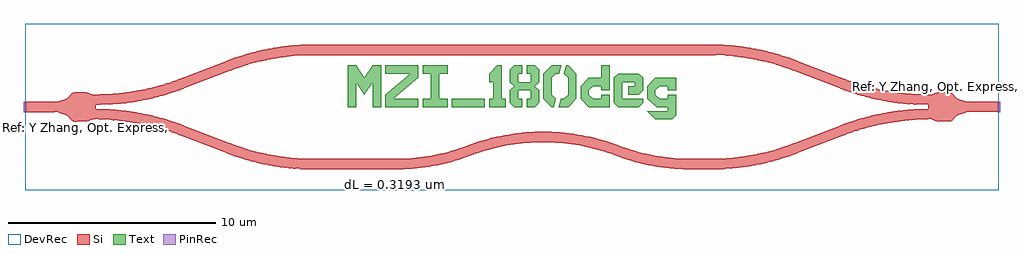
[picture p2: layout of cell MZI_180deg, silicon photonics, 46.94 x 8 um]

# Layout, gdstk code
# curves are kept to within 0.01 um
import gdstk
lib = gdstk.Library(unit=1e-6, precision=1e-09)
def R(c, l, rs):  # rectangles x0, y0, x1, y1
    for r in rs: c.add(gdstk.rectangle(r[:2], r[2:], *l))
def P(c, l, *ps):  # polygons
    for p in ps: c.add(gdstk.Polygon(p, *l))
Si = (1, 0)
PinRec = (1, 10)
Text = (10, 0)
DevRec = (68, 0)

optical_port1_1 = lib.new_cell('optical_port1$1')
optical_port1_1.add(gdstk.FlexPath([(0.05,0),(-0.05,0)], 0.5, ends="flush", simple_path=True, layer=1, datatype=10))  # PinRec
optical_port1_1.add(gdstk.FlexPath([(0.05,0),(-0.05,0)], 0.5, ends="flush", simple_path=True, layer=1, datatype=10))  # PinRec
optical_port1_1.add(gdstk.FlexPath([(0.05,0),(-0.05,0)], 0.5, ends="flush", simple_path=True, layer=1, datatype=10))  # PinRec
optical_port1_1.add(gdstk.FlexPath([(0.05,0),(-0.05,0)], 0.5, ends="flush", simple_path=True, layer=1, datatype=10))  # PinRec
optical_port1_1.add(gdstk.FlexPath([(0.05,0),(-0.05,0)], 0.5, ends="flush", simple_path=True, layer=1, datatype=10))  # PinRec
optical_port1_1.add(gdstk.FlexPath([(0.05,0),(-0.05,0)], 0.5, ends="flush", simple_path=True, layer=1, datatype=10))  # PinRec
optical_port1_1.add(gdstk.FlexPath([(0.05,0),(-0.05,0)], 0.5, ends="flush", simple_path=True, layer=1, datatype=10))  # PinRec
optical_port1_1.add(gdstk.FlexPath([(0.05,0),(-0.05,0)], 0.5, ends="flush", simple_path=True, layer=1, datatype=10))  # PinRec
optical_port1_1.add(gdstk.FlexPath([(0.05,0),(-0.05,0)], 0.5, ends="flush", simple_path=True, layer=1, datatype=10))  # PinRec
optical_port1_1.add(gdstk.FlexPath([(0.05,0),(-0.05,0)], 0.5, ends="flush", simple_path=True, layer=1, datatype=10))  # PinRec
optical_port1_1.add(gdstk.FlexPath([(0.05,0),(-0.05,0)], 0.5, ends="flush", simple_path=True, layer=1, datatype=10))  # PinRec
optical_port1_1.add(gdstk.FlexPath([(0.05,0),(-0.05,0)], 0.5, ends="flush", simple_path=True, layer=1, datatype=10))  # PinRec
optical_port1_1.add(gdstk.FlexPath([(0.05,0),(-0.05,0)], 0.5, ends="flush", simple_path=True, layer=1, datatype=10))  # PinRec
optical_port1_1.add(gdstk.FlexPath([(0.05,0),(-0.05,0)], 0.5, ends="flush", simple_path=True, layer=1, datatype=10))  # PinRec
optical_port1_1.add(gdstk.FlexPath([(0.05,0),(-0.05,0)], 0.5, ends="flush", simple_path=True, layer=1, datatype=10))  # PinRec
optical_port1_1.add(gdstk.FlexPath([(0.05,0),(-0.05,0)], 0.5, ends="flush", simple_path=True, layer=1, datatype=10))  # PinRec
optical_port1_1.add(gdstk.FlexPath([(0.05,0),(-0.05,0)], 0.5, ends="flush", simple_path=True, layer=1, datatype=10))  # PinRec
optical_port1_1.add(gdstk.FlexPath([(0.05,0),(-0.05,0)], 0.5, ends="flush", simple_path=True, layer=1, datatype=10))  # PinRec
optical_port1_1.add(gdstk.FlexPath([(0.05,0),(-0.05,0)], 0.5, ends="flush", simple_path=True, layer=1, datatype=10))  # PinRec
optical_port1_1.add(gdstk.FlexPath([(0.05,0),(-0.05,0)], 0.5, ends="flush", simple_path=True, layer=1, datatype=10))  # PinRec
optical_port1_1.add(gdstk.FlexPath([(0.05,0),(-0.05,0)], 0.5, ends="flush", simple_path=True, layer=1, datatype=10))  # PinRec
optical_port1_1.add(gdstk.FlexPath([(0.05,0),(-0.05,0)], 0.5, ends="flush", simple_path=True, layer=1, datatype=10))  # PinRec
optical_port1_1.add(gdstk.FlexPath([(0.05,0),(-0.05,0)], 0.5, ends="flush", simple_path=True, layer=1, datatype=10))  # PinRec
optical_port1_1.add(gdstk.FlexPath([(0.05,0),(-0.05,0)], 0.5, ends="flush", simple_path=True, layer=1, datatype=10))  # PinRec
optical_port1_1.add(gdstk.FlexPath([(0.05,0),(-0.05,0)], 0.5, ends="flush", simple_path=True, layer=1, datatype=10))  # PinRec
optical_port1_1.add(gdstk.FlexPath([(0.05,0),(-0.05,0)], 0.5, ends="flush", simple_path=True, layer=1, datatype=10))  # PinRec
optical_port1_1.add(gdstk.FlexPath([(0.05,0),(-0.05,0)], 0.5, ends="flush", simple_path=True, layer=1, datatype=10))  # PinRec
optical_port1_1.add(gdstk.FlexPath([(0.05,0),(-0.05,0)], 0.5, ends="flush", simple_path=True, layer=1, datatype=10))  # PinRec
optical_port1_1.add(gdstk.FlexPath([(0.05,0),(-0.05,0)], 0.5, ends="flush", simple_path=True, layer=1, datatype=10))  # PinRec
optical_port1_1.add(gdstk.FlexPath([(0.05,0),(-0.05,0)], 0.5, ends="flush", simple_path=True, layer=1, datatype=10))  # PinRec
optical_port1_1.add(gdstk.FlexPath([(0.05,0),(-0.05,0)], 0.5, ends="flush", simple_path=True, layer=1, datatype=10))  # PinRec
optical_port1_1.add(gdstk.FlexPath([(0.05,0),(-0.05,0)], 0.5, ends="flush", simple_path=True, layer=1, datatype=10))  # PinRec
optical_port1_1.add(gdstk.FlexPath([(0.05,0),(-0.05,0)], 0.5, ends="flush", simple_path=True, layer=1, datatype=10))  # PinRec
optical_port1_1.add(gdstk.FlexPath([(0.05,0),(-0.05,0)], 0.5, ends="flush", simple_path=True, layer=1, datatype=10))  # PinRec
optical_port1_1.add(gdstk.FlexPath([(0.05,0),(-0.05,0)], 0.5, ends="flush", simple_path=True, layer=1, datatype=10))  # PinRec
optical_port1_1.add(gdstk.FlexPath([(0.05,0),(-0.05,0)], 0.5, ends="flush", simple_path=True, layer=1, datatype=10))  # PinRec
optical_port1_1.add(gdstk.FlexPath([(0.05,0),(-0.05,0)], 0.5, ends="flush", simple_path=True, layer=1, datatype=10))  # PinRec
optical_port1_1.add(gdstk.FlexPath([(0.05,0),(-0.05,0)], 0.5, ends="flush", simple_path=True, layer=1, datatype=10))  # PinRec
optical_port1_1.add(gdstk.FlexPath([(0.05,0),(-0.05,0)], 0.5, ends="flush", simple_path=True, layer=1, datatype=10))  # PinRec
optical_port1_1.add(gdstk.FlexPath([(0.05,0),(-0.05,0)], 0.5, ends="flush", simple_path=True, layer=1, datatype=10))  # PinRec
optical_port1_1.add(gdstk.FlexPath([(0.05,0),(-0.05,0)], 0.5, ends="flush", simple_path=True, layer=1, datatype=10))  # PinRec
optical_port1_1.add(gdstk.FlexPath([(0.05,0),(-0.05,0)], 0.5, ends="flush", simple_path=True, layer=1, datatype=10))  # PinRec
optical_port1_1.add(gdstk.Label('o1', (0,0), layer=1, texttype=10))
optical_port1_1.add(gdstk.Label('o1', (0,0), layer=1, texttype=10))
optical_port1_1.add(gdstk.Label('o1', (0,0), layer=1, texttype=10))
optical_port1_1.add(gdstk.Label('o1', (0,0), layer=1, texttype=10))
optical_port1_1.add(gdstk.Label('o1', (0,0), layer=1, texttype=10))
optical_port1_1.add(gdstk.Label('o1', (0,0), layer=1, texttype=10))
optical_port1_1.add(gdstk.Label('o1', (0,0), layer=1, texttype=10))
optical_port1_1.add(gdstk.Label('o1', (0,0), layer=1, texttype=10))
optical_port1_1.add(gdstk.Label('o1', (0,0), layer=1, texttype=10))
optical_port1_1.add(gdstk.Label('o1', (0,0), layer=1, texttype=10))
optical_port1_1.add(gdstk.Label('o1', (0,0), layer=1, texttype=10))
optical_port1_1.add(gdstk.Label('o1', (0,0), layer=1, texttype=10))
optical_port1_1.add(gdstk.Label('o1', (0,0), layer=1, texttype=10))
optical_port1_1.add(gdstk.Label('o1', (0,0), layer=1, texttype=10))
optical_port1_1.add(gdstk.Label('o1', (0,0), layer=1, texttype=10))
optical_port1_1.add(gdstk.Label('o1', (0,0), layer=1, texttype=10))
optical_port1_1.add(gdstk.Label('o1', (0,0), layer=1, texttype=10))
optical_port1_1.add(gdstk.Label('o1', (0,0), layer=1, texttype=10))
optical_port1_1.add(gdstk.Label('o1', (0,0), layer=1, texttype=10))
optical_port1_1.add(gdstk.Label('o1', (0,0), layer=1, texttype=10))
optical_port1_1.add(gdstk.Label('o1', (0,0), layer=1, texttype=10))
optical_port1_1.add(gdstk.Label('o1', (0,0), layer=1, texttype=10))
optical_port1_1.add(gdstk.Label('o1', (0,0), layer=1, texttype=10))
optical_port1_1.add(gdstk.Label('o1', (0,0), layer=1, texttype=10))
optical_port1_1.add(gdstk.Label('o1', (0,0), layer=1, texttype=10))
optical_port1_1.add(gdstk.Label('o1', (0,0), layer=1, texttype=10))
optical_port1_1.add(gdstk.Label('o1', (0,0), layer=1, texttype=10))
optical_port1_1.add(gdstk.Label('o1', (0,0), layer=1, texttype=10))
optical_port1_1.add(gdstk.Label('o1', (0,0), layer=1, texttype=10))
optical_port1_1.add(gdstk.Label('o1', (0,0), layer=1, texttype=10))
optical_port1_1.add(gdstk.Label('o1', (0,0), layer=1, texttype=10))
optical_port1_1.add(gdstk.Label('o1', (0,0), layer=1, texttype=10))
optical_port1_1.add(gdstk.Label('o1', (0,0), layer=1, texttype=10))
optical_port1_1.add(gdstk.Label('o1', (0,0), layer=1, texttype=10))
optical_port1_1.add(gdstk.Label('o1', (0,0), layer=1, texttype=10))
optical_port1_1.add(gdstk.Label('o1', (0,0), layer=1, texttype=10))
optical_port1_1.add(gdstk.Label('o1', (0,0), layer=1, texttype=10))
optical_port1_1.add(gdstk.Label('o1', (0,0), layer=1, texttype=10))
optical_port1_1.add(gdstk.Label('o1', (0,0), layer=1, texttype=10))
optical_port1_1.add(gdstk.Label('o1', (0,0), layer=1, texttype=10))
optical_port1_1.add(gdstk.Label('o1', (0,0), layer=1, texttype=10))
optical_port1_1.add(gdstk.Label('o1', (0,0), layer=1, texttype=10))

optical_port2_1 = lib.new_cell('optical_port2$1')
optical_port2_1.add(gdstk.FlexPath([(-0.05,0),(0.05,0)], 0.5, ends="flush", simple_path=True, layer=1, datatype=10))  # PinRec
optical_port2_1.add(gdstk.FlexPath([(-0.05,0),(0.05,0)], 0.5, ends="flush", simple_path=True, layer=1, datatype=10))  # PinRec
optical_port2_1.add(gdstk.FlexPath([(-0.05,0),(0.05,0)], 0.5, ends="flush", simple_path=True, layer=1, datatype=10))  # PinRec
optical_port2_1.add(gdstk.FlexPath([(-0.05,0),(0.05,0)], 0.5, ends="flush", simple_path=True, layer=1, datatype=10))  # PinRec
optical_port2_1.add(gdstk.FlexPath([(-0.05,0),(0.05,0)], 0.5, ends="flush", simple_path=True, layer=1, datatype=10))  # PinRec
optical_port2_1.add(gdstk.FlexPath([(-0.05,0),(0.05,0)], 0.5, ends="flush", simple_path=True, layer=1, datatype=10))  # PinRec
optical_port2_1.add(gdstk.FlexPath([(-0.05,0),(0.05,0)], 0.5, ends="flush", simple_path=True, layer=1, datatype=10))  # PinRec
optical_port2_1.add(gdstk.FlexPath([(-0.05,0),(0.05,0)], 0.5, ends="flush", simple_path=True, layer=1, datatype=10))  # PinRec
optical_port2_1.add(gdstk.FlexPath([(-0.05,0),(0.05,0)], 0.5, ends="flush", simple_path=True, layer=1, datatype=10))  # PinRec
optical_port2_1.add(gdstk.FlexPath([(-0.05,0),(0.05,0)], 0.5, ends="flush", simple_path=True, layer=1, datatype=10))  # PinRec
optical_port2_1.add(gdstk.FlexPath([(-0.05,0),(0.05,0)], 0.5, ends="flush", simple_path=True, layer=1, datatype=10))  # PinRec
optical_port2_1.add(gdstk.FlexPath([(-0.05,0),(0.05,0)], 0.5, ends="flush", simple_path=True, layer=1, datatype=10))  # PinRec
optical_port2_1.add(gdstk.FlexPath([(-0.05,0),(0.05,0)], 0.5, ends="flush", simple_path=True, layer=1, datatype=10))  # PinRec
optical_port2_1.add(gdstk.FlexPath([(-0.05,0),(0.05,0)], 0.5, ends="flush", simple_path=True, layer=1, datatype=10))  # PinRec
optical_port2_1.add(gdstk.FlexPath([(-0.05,0),(0.05,0)], 0.5, ends="flush", simple_path=True, layer=1, datatype=10))  # PinRec
optical_port2_1.add(gdstk.FlexPath([(-0.05,0),(0.05,0)], 0.5, ends="flush", simple_path=True, layer=1, datatype=10))  # PinRec
optical_port2_1.add(gdstk.FlexPath([(-0.05,0),(0.05,0)], 0.5, ends="flush", simple_path=True, layer=1, datatype=10))  # PinRec
optical_port2_1.add(gdstk.FlexPath([(-0.05,0),(0.05,0)], 0.5, ends="flush", simple_path=True, layer=1, datatype=10))  # PinRec
optical_port2_1.add(gdstk.FlexPath([(-0.05,0),(0.05,0)], 0.5, ends="flush", simple_path=True, layer=1, datatype=10))  # PinRec
optical_port2_1.add(gdstk.FlexPath([(-0.05,0),(0.05,0)], 0.5, ends="flush", simple_path=True, layer=1, datatype=10))  # PinRec
optical_port2_1.add(gdstk.FlexPath([(-0.05,0),(0.05,0)], 0.5, ends="flush", simple_path=True, layer=1, datatype=10))  # PinRec
optical_port2_1.add(gdstk.FlexPath([(-0.05,0),(0.05,0)], 0.5, ends="flush", simple_path=True, layer=1, datatype=10))  # PinRec
optical_port2_1.add(gdstk.FlexPath([(-0.05,0),(0.05,0)], 0.5, ends="flush", simple_path=True, layer=1, datatype=10))  # PinRec
optical_port2_1.add(gdstk.FlexPath([(-0.05,0),(0.05,0)], 0.5, ends="flush", simple_path=True, layer=1, datatype=10))  # PinRec
optical_port2_1.add(gdstk.FlexPath([(-0.05,0),(0.05,0)], 0.5, ends="flush", simple_path=True, layer=1, datatype=10))  # PinRec
optical_port2_1.add(gdstk.FlexPath([(-0.05,0),(0.05,0)], 0.5, ends="flush", simple_path=True, layer=1, datatype=10))  # PinRec
optical_port2_1.add(gdstk.FlexPath([(-0.05,0),(0.05,0)], 0.5, ends="flush", simple_path=True, layer=1, datatype=10))  # PinRec
optical_port2_1.add(gdstk.FlexPath([(-0.05,0),(0.05,0)], 0.5, ends="flush", simple_path=True, layer=1, datatype=10))  # PinRec
optical_port2_1.add(gdstk.FlexPath([(-0.05,0),(0.05,0)], 0.5, ends="flush", simple_path=True, layer=1, datatype=10))  # PinRec
optical_port2_1.add(gdstk.FlexPath([(-0.05,0),(0.05,0)], 0.5, ends="flush", simple_path=True, layer=1, datatype=10))  # PinRec
optical_port2_1.add(gdstk.FlexPath([(-0.05,0),(0.05,0)], 0.5, ends="flush", simple_path=True, layer=1, datatype=10))  # PinRec
optical_port2_1.add(gdstk.FlexPath([(-0.05,0),(0.05,0)], 0.5, ends="flush", simple_path=True, layer=1, datatype=10))  # PinRec
optical_port2_1.add(gdstk.FlexPath([(-0.05,0),(0.05,0)], 0.5, ends="flush", simple_path=True, layer=1, datatype=10))  # PinRec
optical_port2_1.add(gdstk.FlexPath([(-0.05,0),(0.05,0)], 0.5, ends="flush", simple_path=True, layer=1, datatype=10))  # PinRec
optical_port2_1.add(gdstk.FlexPath([(-0.05,0),(0.05,0)], 0.5, ends="flush", simple_path=True, layer=1, datatype=10))  # PinRec
optical_port2_1.add(gdstk.FlexPath([(-0.05,0),(0.05,0)], 0.5, ends="flush", simple_path=True, layer=1, datatype=10))  # PinRec
optical_port2_1.add(gdstk.FlexPath([(-0.05,0),(0.05,0)], 0.5, ends="flush", simple_path=True, layer=1, datatype=10))  # PinRec
optical_port2_1.add(gdstk.FlexPath([(-0.05,0),(0.05,0)], 0.5, ends="flush", simple_path=True, layer=1, datatype=10))  # PinRec
optical_port2_1.add(gdstk.FlexPath([(-0.05,0),(0.05,0)], 0.5, ends="flush", simple_path=True, layer=1, datatype=10))  # PinRec
optical_port2_1.add(gdstk.FlexPath([(-0.05,0),(0.05,0)], 0.5, ends="flush", simple_path=True, layer=1, datatype=10))  # PinRec
optical_port2_1.add(gdstk.FlexPath([(-0.05,0),(0.05,0)], 0.5, ends="flush", simple_path=True, layer=1, datatype=10))  # PinRec
optical_port2_1.add(gdstk.FlexPath([(-0.05,0),(0.05,0)], 0.5, ends="flush", simple_path=True, layer=1, datatype=10))  # PinRec
optical_port2_1.add(gdstk.Label('o2', (0,0), layer=1, texttype=10))
optical_port2_1.add(gdstk.Label('o2', (0,0), layer=1, texttype=10))
optical_port2_1.add(gdstk.Label('o2', (0,0), layer=1, texttype=10))
optical_port2_1.add(gdstk.Label('o2', (0,0), layer=1, texttype=10))
optical_port2_1.add(gdstk.Label('o2', (0,0), layer=1, texttype=10))
optical_port2_1.add(gdstk.Label('o2', (0,0), layer=1, texttype=10))
optical_port2_1.add(gdstk.Label('o2', (0,0), layer=1, texttype=10))
optical_port2_1.add(gdstk.Label('o2', (0,0), layer=1, texttype=10))
optical_port2_1.add(gdstk.Label('o2', (0,0), layer=1, texttype=10))
optical_port2_1.add(gdstk.Label('o2', (0,0), layer=1, texttype=10))
optical_port2_1.add(gdstk.Label('o2', (0,0), layer=1, texttype=10))
optical_port2_1.add(gdstk.Label('o2', (0,0), layer=1, texttype=10))
optical_port2_1.add(gdstk.Label('o2', (0,0), layer=1, texttype=10))
optical_port2_1.add(gdstk.Label('o2', (0,0), layer=1, texttype=10))
optical_port2_1.add(gdstk.Label('o2', (0,0), layer=1, texttype=10))
optical_port2_1.add(gdstk.Label('o2', (0,0), layer=1, texttype=10))
optical_port2_1.add(gdstk.Label('o2', (0,0), layer=1, texttype=10))
optical_port2_1.add(gdstk.Label('o2', (0,0), layer=1, texttype=10))
optical_port2_1.add(gdstk.Label('o2', (0,0), layer=1, texttype=10))
optical_port2_1.add(gdstk.Label('o2', (0,0), layer=1, texttype=10))
optical_port2_1.add(gdstk.Label('o2', (0,0), layer=1, texttype=10))
optical_port2_1.add(gdstk.Label('o2', (0,0), layer=1, texttype=10))
optical_port2_1.add(gdstk.Label('o2', (0,0), layer=1, texttype=10))
optical_port2_1.add(gdstk.Label('o2', (0,0), layer=1, texttype=10))
optical_port2_1.add(gdstk.Label('o2', (0,0), layer=1, texttype=10))
optical_port2_1.add(gdstk.Label('o2', (0,0), layer=1, texttype=10))
optical_port2_1.add(gdstk.Label('o2', (0,0), layer=1, texttype=10))
optical_port2_1.add(gdstk.Label('o2', (0,0), layer=1, texttype=10))
optical_port2_1.add(gdstk.Label('o2', (0,0), layer=1, texttype=10))
optical_port2_1.add(gdstk.Label('o2', (0,0), layer=1, texttype=10))
optical_port2_1.add(gdstk.Label('o2', (0,0), layer=1, texttype=10))
optical_port2_1.add(gdstk.Label('o2', (0,0), layer=1, texttype=10))
optical_port2_1.add(gdstk.Label('o2', (0,0), layer=1, texttype=10))
optical_port2_1.add(gdstk.Label('o2', (0,0), layer=1, texttype=10))
optical_port2_1.add(gdstk.Label('o2', (0,0), layer=1, texttype=10))
optical_port2_1.add(gdstk.Label('o2', (0,0), layer=1, texttype=10))
optical_port2_1.add(gdstk.Label('o2', (0,0), layer=1, texttype=10))
optical_port2_1.add(gdstk.Label('o2', (0,0), layer=1, texttype=10))
optical_port2_1.add(gdstk.Label('o2', (0,0), layer=1, texttype=10))
optical_port2_1.add(gdstk.Label('o2', (0,0), layer=1, texttype=10))
optical_port2_1.add(gdstk.Label('o2', (0,0), layer=1, texttype=10))
optical_port2_1.add(gdstk.Label('o2', (0,0), layer=1, texttype=10))

text_tmzi_180deg_s2_p16_ = lib.new_cell('text_TMZI_180deg_S2_P16_8c571e9b')
R(text_tmzi_180deg_s2_p16_, Text, [(13.12,0,14.72,0.4)])
P(text_tmzi_180deg_s2_p16_, Text, [(22.92,-0.6),(22.52,-0.2),(23.52,-0.2),(23.52,0),(22.988,0),(22.52,0.4),(22.52,1),(22.92,1.4),(23.92,1.4),(23.92,0.8),(23.52,0.8),(23.52,1),(23.12,1),(22.92,0.8),(22.92,0.6),(23.12,0.4),(23.52,0.4),(23.52,0.6),(23.92,0.6),(23.92,-0.4),(23.72,-0.6)],
  [(21.12,0),(20.92,0.2),(20.92,1.4),(21.12,1.6),(22.12,1.6),(22.32,1.4),(22.32,0.8),(22.12,0.6),(21.6,0.6),(21.6,1),(21.92,1),(21.92,1.2),(21.32,1.2),(21.32,0.4),(22.32,0.4),(22.32,0.2),(22.12,0)],
  [(8.12,0),(8.12,2),(8.52,2),(8.92,1.4),(9.32,2),(9.72,2),(9.72,0),(9.32,0),(9.32,1.2),(8.92,0.6),(8.52,1.2),(8.52,0)],
  [(9.92,0),(9.92,0.6),(11.12,1.6),(9.92,1.6),(9.92,2),(11.52,2),(11.52,1.4),(10.32,0.4),(11.52,0.4),(11.52,0)],
  [(11.72,0),(11.72,0.4),(12.12,0.4),(12.12,1.6),(11.72,1.6),(11.72,2),(12.92,2),(12.92,1.6),(12.52,1.6),(12.52,0.4),(12.92,0.4),(12.92,0)],
  [(14.92,0),(14.92,0.4),(15.12,0.4),(15.12,1.2),(14.92,1.2),(14.92,1.6),(15.32,2),(15.52,2),(15.52,0.4),(15.72,0.4),(15.72,0)],
  [(16.12,0),(15.92,0.2),(15.92,0.8),(16.12,1),(15.92,1.2),(15.92,1.8),(16.12,2),(16.52,2),(16.52,1.6),(16.32,1.6),(16.32,1.2),(16.92,1.2),(16.92,1.6),(16.72,1.6),(16.72,2),(17.12,2),(17.32,1.8),(17.32,1.2),(17.12,1),(17.32,0.8),(17.32,0.2),(17.12,0),(16.72,0),(16.72,0.4),(16.92,0.4),(16.92,0.8),(16.32,0.8),(16.32,0.4),(16.52,0.4),(16.52,0)],
  [(17.92,0),(17.52,0.4),(17.52,1.6),(17.92,2),(18.38,2),(18.28,1.6),(18.12,1.6),(17.92,1.4),(17.92,0.6),(18.12,0.4),(18.02,0)],
  [(18.26,0),(18.36,0.4),(18.52,0.4),(18.72,0.6),(18.72,1.4),(18.52,1.6),(18.62,2),(18.72,2),(19.12,1.6),(19.12,0.4),(18.72,0)],
  [(19.72,0),(19.32,0.4),(19.32,1),(19.72,1.4),(20.32,1.4),(20.32,2),(20.72,2),(20.72,0.8),(20.32,0.8),(20.32,1),(19.92,1),(19.72,0.8),(19.72,0.6),(19.92,0.4),(20.32,0.4),(20.32,0.6),(20.72,0.6),(20.72,0)])

mzi_180deg = lib.new_cell('MZI_180deg')
P(mzi_180deg, Si, [(6.458,-3),(5.718,-2.974),(4.993,-2.903),(4.257,-2.784),(3.509,-2.613),(3.017,-2.472),(2.491,-2.295),(-0.369,-1.202),(-1.123,-0.974),(-1.826,-0.812),(-2.677,-0.678),(-3.601,-0.607),(-4.123,-0.595),(-4.492,-0.699),(-4.991,-0.701),(-5.077,-0.683),(-5.145,-0.647),(-5.344,-0.44),(-5.434,-0.378),(-5.833,-0.25),(-7.4,-0.25),(-7.4,0.25),(-5.833,0.25),(-5.434,0.378),(-5.344,0.44),(-5.145,0.647),(-5.077,0.683),(-4.991,0.701),(-4.492,0.699),(-4.123,0.595),(-3.501,0.611),(-2.619,0.685),(-1.693,0.839),(-0.976,1.014),(-0.334,1.214),(2.412,2.266),(3.109,2.5),(6.456,2.5),(5.796,2.478),(5.119,2.415),(4.414,2.305),(3.799,2.171),(3.282,2.03),(2.706,1.841),(0.088,0.834),(-0.72,0.567),(-1.565,0.355),(-2.381,0.212),(-3.16,0.13),(-4,0.1),(-4,-0.1),(-3.265,-0.123),(-2.564,-0.188),(-1.895,-0.29),(-1.214,-0.435),(-0.612,-0.599),(-0.086,-0.771),(2.532,-1.777),(3.336,-2.046),(3.962,-2.21),(4.54,-2.328),(5.119,-2.415),(5.678,-2.47),(6.456,-2.5),(10.4,-2.5),(10.991,-2.482),(11.384,-2.45),(11.97,-2.373),(12.743,-2.214),(13.312,-2.055),(14.657,-1.598),(15.462,-1.399),(15.869,-1.324),(16.485,-1.242),(17.106,-1.198),(17.52,-1.19),(17.934,-1.198),(18.555,-1.242),(19.171,-1.324),(19.578,-1.399),(20.383,-1.598),(20.779,-1.722),(21.539,-1.994),(22.106,-2.165),(22.681,-2.301),(23.264,-2.402),(23.851,-2.468),(24.442,-2.498),(25.756,-2.498),(26.488,-2.46),(27.036,-2.4),(27.625,-2.305),(28.24,-2.171),(28.757,-2.03),(29.507,-1.777),(32.008,-0.813),(32.461,-0.658),(32.999,-0.5),(33.796,-0.316),(34.532,-0.197),(35.288,-0.124),(36.039,-0.1),(36.039,0.1),(35.304,0.123),(34.603,0.188),(33.934,0.29),(33.253,0.435),(32.651,0.599),(32.125,0.771),(29.507,1.777),(28.757,2.03),(28.24,2.171),(27.667,2.297),(27.08,2.394),(26.567,2.453),(26.081,2.487),(25.583,2.5),(3.109,2.5),(3.59,2.634),(4.147,2.762),(4.757,2.87),(5.294,2.938),(5.868,2.983),(6.458,3),(25.581,3),(26.446,2.965),(27.046,2.903),(27.644,2.81),(28.229,2.688),(28.819,2.533),(29.627,2.266),(32.373,1.214),(33.015,1.014),(33.732,0.839),(34.658,0.685),(35.54,0.611),(36.162,0.595),(36.531,0.699),(37.03,0.701),(37.116,0.683),(37.184,0.647),(37.383,0.44),(37.473,0.378),(37.872,0.25),(39.439,0.25),(39.439,-0.25),(37.872,-0.25),(37.473,-0.378),(37.383,-0.44),(37.184,-0.647),(37.116,-0.683),(37.03,-0.701),(36.531,-0.699),(36.162,-0.595),(35.54,-0.611),(34.658,-0.685),(33.732,-0.839),(33.015,-1.014),(32.373,-1.214),(29.627,-2.266),(28.937,-2.498),(28.449,-2.634),(27.892,-2.762),(27.282,-2.87),(26.745,-2.938),(25.883,-2.995),(24.639,-3),(24.018,-2.981),(23.399,-2.925),(22.784,-2.831),(21.976,-2.648),(21.38,-2.468),(20.432,-2.135),(19.863,-1.976),(19.478,-1.889),(19.09,-1.817),(18.504,-1.74),(18.111,-1.708),(17.52,-1.69),(16.929,-1.708),(16.536,-1.74),(15.95,-1.817),(15.562,-1.889),(15.177,-1.976),(14.608,-2.135),(13.659,-2.468),(13.063,-2.648),(12.255,-2.831),(11.64,-2.925),(11.021,-2.981),(10.607,-2.998)])
R(mzi_180deg, DevRec, [(-7.4,-4,39.439,4)])
mzi_180deg.add(gdstk.Reference(optical_port1_1, (-7.4,0)))
mzi_180deg.add(gdstk.Reference(optical_port2_1, (39.439,0)))
mzi_180deg.add(gdstk.Reference(text_tmzi_180deg_s2_p16_, (0,0)))
mzi_180deg.add(gdstk.Label('Ref: Y Zhang, Opt. Express, 21/1, 2013', (-5.65,-1), layer=10, texttype=0))
mzi_180deg.add(gdstk.Label('Ref: Y Zhang, Opt. Express, 21/1, 2013', (37.689,1), layer=10, texttype=0))
mzi_180deg.add(gdstk.Label('dL = 0.3193 um', (10.401,-3.75), layer=10, texttype=0))

lib.write_gds('MZI_180deg.gds')
